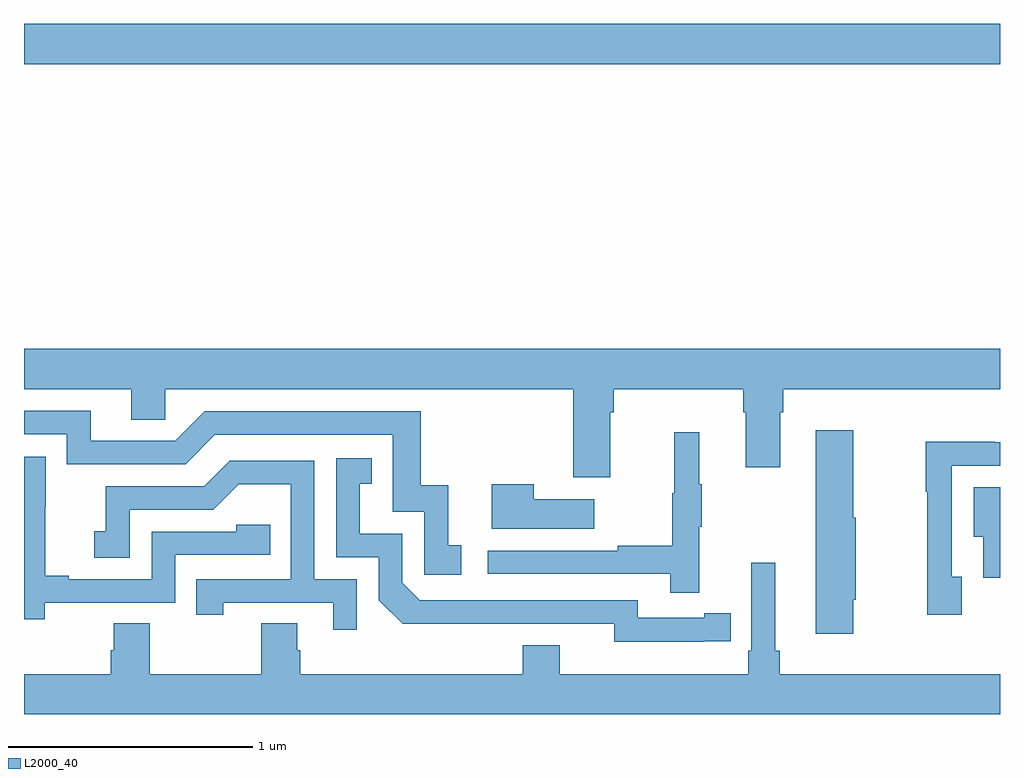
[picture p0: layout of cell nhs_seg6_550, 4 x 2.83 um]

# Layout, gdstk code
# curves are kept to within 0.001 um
import gdstk
lib = gdstk.Library(unit=1e-6, precision=1e-09)
def R(c, l, rs):  # rectangles x0, y0, x1, y1
    for r in rs: c.add(gdstk.rectangle(r[:2], r[2:], *l))
def P(c, l, *ps):  # polygons
    for p in ps: c.add(gdstk.Polygon(p, *l))
L2000_40 = (2000, 40)

nhs_seg6_550 = lib.new_cell('nhs_seg6_550')
R(nhs_seg6_550, L2000_40, [(145,940.676,149,940.84)])
P(nhs_seg6_550, L2000_40, [(147.403,939.248),(147.416,939.248),(147.416,939.344),(147.947,939.344),(147.947,939.248),(147.959,939.248),(147.959,939.024),(148.099,939.024),(148.099,939.248),(148.112,939.248),(148.112,939.344),(149,939.344),(149,939.508),(145,939.508),(145,939.344),(145.439,939.344),(145.439,939.217),(145.578,939.217),(145.578,939.344),(147.251,939.344),(147.251,938.982),(147.403,938.982)],
  [(146.791,938.703),(146.738,938.703),(146.738,938.95),(146.627,938.95),(146.627,939.252),(145.74,939.252),(145.62,939.132),(145.273,939.132),(145.273,939.255),(145,939.255),(145,939.159),(145.176,939.159),(145.176,939.036),(145.662,939.036),(145.782,939.156),(146.511,939.156),(146.511,938.841),(146.64,938.841),(146.64,938.583),(146.791,938.583)],
  [(148.398,938.481),(148.408,938.481),(148.408,938.817),(148.398,938.817),(148.398,939.175),(148.244,939.175),(148.244,938.34),(148.398,938.34)],
  [(147.767,938.779),(147.778,938.779),(147.778,938.953),(147.767,938.953),(147.767,939.166),(147.664,939.166),(147.664,938.916),(147.657,938.916),(147.657,938.702),(147.433,938.702),(147.433,938.682),(146.901,938.682),(146.901,938.586),(147.649,938.586),(147.649,938.508),(147.767,938.508)],
  [(148.843,938.574),(148.803,938.574),(148.803,939.03),(149,939.03),(149,939.126),(148.979,939.126),(148.979,939.128),(148.695,939.128),(148.695,938.923),(148.702,938.923),(148.702,938.418),(148.843,938.418)],
  [(145.086,938.469),(145.62,938.469),(145.62,938.664),(146.009,938.664),(146.009,938.787),(145.869,938.787),(145.869,938.76),(145.524,938.76),(145.524,938.565),(145.183,938.565),(145.183,938.578),(145.088,938.578),(145.088,938.861),(145.089,938.861),(145.089,939.067),(145,939.067),(145,938.401),(145.086,938.401)],
  [(147.788,938.31),(147.896,938.31),(147.896,938.426),(147.788,938.426),(147.788,938.406),(147.516,938.406),(147.516,938.478),(146.622,938.478),(146.55,938.55),(146.55,938.751),(146.377,938.751),(146.377,938.955),(146.426,938.955),(146.426,939.061),(146.28,939.061),(146.28,938.655),(146.454,938.655),(146.454,938.478),(146.552,938.381),(147.42,938.382),(147.42,938.309)],
  [(146.364,938.565),(146.19,938.565),(146.19,939.051),(145.844,939.051),(145.739,938.946),(145.336,938.946),(145.336,938.761),(145.287,938.761),(145.287,938.652),(145.434,938.652),(145.434,938.85),(145.776,938.85),(145.88,938.954),(146.094,938.954),(146.094,938.565),(145.705,938.565),(145.705,938.418),(145.816,938.418),(145.816,938.469),(146.267,938.469),(146.267,938.358),(146.364,938.358)],
  [(147.337,938.893),(147.089,938.893),(147.089,938.953),(146.918,938.953),(146.918,938.771),(147.337,938.771)],
  [(149,938.941),(148.892,938.941),(148.892,938.738),(148.931,938.738),(148.931,938.57),(149,938.57)],
  [(149,938.176),(148.097,938.176),(148.097,938.272),(148.078,938.272),(148.078,938.632),(147.981,938.632),(147.981,938.272),(147.968,938.272),(147.968,938.176),(147.196,938.176),(147.196,938.293),(147.044,938.293),(147.044,938.176),(146.132,938.176),(146.132,938.274),(146.119,938.274),(146.119,938.384),(145.972,938.384),(145.972,938.176),(145.515,938.176),(145.515,938.384),(145.367,938.384),(145.367,938.274),(145.355,938.274),(145.355,938.176),(145,938.176),(145,938.012),(149,938.012)])

lib.write_gds('nhs_seg6_550.gds')
